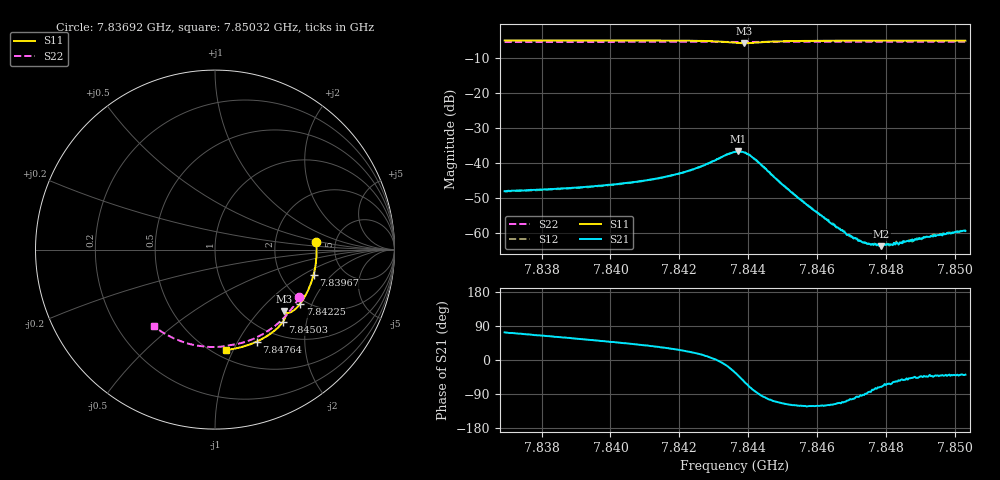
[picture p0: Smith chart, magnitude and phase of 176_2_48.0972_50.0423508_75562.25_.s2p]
#  HZ  S  RI  R  50.00
! Rohde & Schwarz Vector Network Analyzer
! Rohde-Schwarz,ZNB20-2Port,1311601062101988,3.16
! Created: UTC 12/23/2023, 3:52:17 AM
! freq[Hz]  re:S11  im:S11  re:S21  im:S21  re:S12  im:S12  re:S22  im:S22
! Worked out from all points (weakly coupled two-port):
!   401 points, 7.83692 GHz to 7.85032 GHz, reference 50 ohm
!   highest |S21| = -36.72 dB at 7.84372 GHz (marker M1); lowest = -63.9 dB at 7.84787 GHz (marker M2)
!   lowest |S11| = -5.7 dB at 7.84389 GHz (marker M3), VSWR 3.14, Z = 73.9 - j69.4 ohm
!   |S11| at or under -10 dB: nowhere
!   |S22| runs from -5.4 to -5.3 dB; largest |S21 - S12| = 0.00035
!   S11 on the Smith chart (normalised r, x): 7.83692 GHz: 3.55, +0.43; 7.83967 GHz: 3.04, -1.26; 7.84225 GHz: 1.86, -1.65; 7.84503 GHz: 1.26, -1.47; 7.84764 GHz: 0.80, -1.20; 7.85032 GHz: 0.57, -0.94
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7.836923e9  0.5646 0.0408  0.00116 0.00376  0.00121 0.00371  0.4696 -0.2654
7.839166e9  0.5565 -0.1079  0.00256 0.00367  0.00254 0.00361  0.3743 -0.3896
7.839669e9  0.5491 -0.1408  0.00297 0.00366  0.00294 0.0036  0.3483 -0.4135
7.84141e9  0.5065 -0.2517  0.00497 0.00341  0.00495 0.0034  0.247 -0.4814
7.842247e9  0.4743 -0.3026  0.00705 0.00293  0.007 0.00294  0.1933 -0.5055
7.843117e9  0.4244 -0.3474  0.0114 -0.000273  0.0113 -0.000242  0.1347 -0.5236
7.84362e9  0.3897 -0.3508  0.012 -0.00784  0.0121 -0.00778  0.1012 -0.5295
7.84372e9  0.3861 -0.3479  0.0109 -0.00967  0.011 -0.00965  0.0947 -0.5307
7.843887e9  0.3856 -0.3442  0.0076 -0.0119  0.00775 -0.0118  0.0842 -0.5324
7.844055e9  0.3894 -0.3453  0.00394 -0.0122  0.0041 -0.0122  0.0736 -0.5345
7.844289e9  0.394 -0.356  0.000299 -0.0103  0.000394 -0.0103  0.0581 -0.5376
7.845026e9  0.3766 -0.4049  -0.002 -0.00431  -0.00201 -0.00435  0.00647 -0.5425
7.845863e9  0.3353 -0.4484  -0.00115 -0.00187  -0.00121 -0.00186  -0.0527 -0.5409
7.846399e9  0.3055 -0.4711  -0.000638 -0.00122  -0.000661 -0.00127  -0.09 -0.5365
7.847001e9  0.2709 -0.493  -0.000215 -0.000861  -0.000226 -0.000832  -0.1316 -0.5282
7.847403e9  0.2468 -0.5059  1.4e-05 -0.000717  3.17e-05 -0.000725  -0.1589 -0.5209
7.847637e9  0.2326 -0.5126  0.000131 -0.000672  0.000128 -0.00065  -0.1744 -0.516
7.847704e9  0.2283 -0.5146  0.000189 -0.000665  0.000177 -0.000654  -0.1789 -0.5145
7.847872e9  0.2181 -0.519  0.00021 -0.000605  0.000231 -0.000645  -0.1902 -0.5106
7.848106e9  0.2035 -0.5249  0.000318 -0.000604  0.000314 -0.000571  -0.2055 -0.5046
7.849412e9  0.12 -0.5499  0.000677 -0.000615  0.000699 -0.000627  -0.2872 -0.4639
7.850316e9  0.0608 -0.5592  0.000823 -0.000662  0.000801 -0.000711  -0.3394 -0.4279
